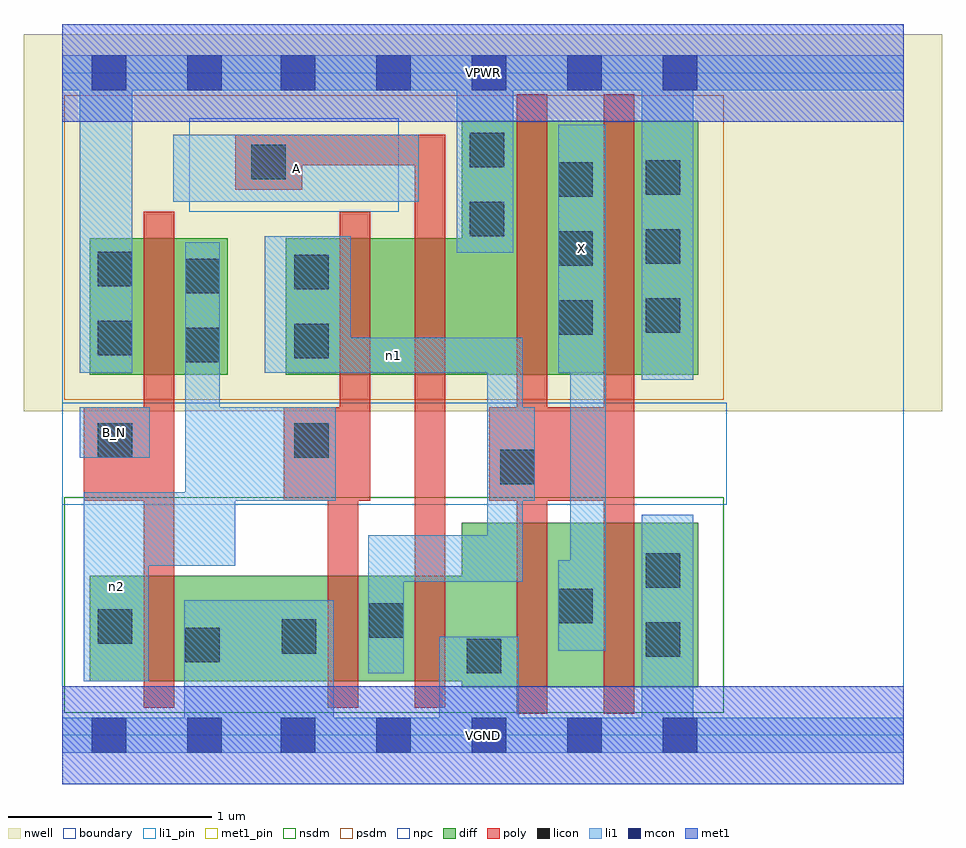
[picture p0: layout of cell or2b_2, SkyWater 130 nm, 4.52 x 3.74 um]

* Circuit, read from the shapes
.subckt or2b_2 A B_N VGND VPWR X n1 n2
XM1 VGND B_N n2 VSUBS sky130_fd_pr__nfet_01v8 w=0.52 l=0.15
XM2 n1 n2 VGND VSUBS sky130_fd_pr__nfet_01v8 w=0.52 l=0.15
XM3 VGND A n1 VSUBS sky130_fd_pr__nfet_01v8 w=0.52 l=0.15
XM4 X n1 VGND VSUBS sky130_fd_pr__nfet_01v8 w=0.81 l=0.15 m=2
XM5 n2 B_N VPWR n3 sky130_fd_pr__pfet_01v8 w=0.67 l=0.15
XM6 n4 n2 n1 n3 sky130_fd_pr__pfet_01v8 w=0.67 l=0.15
XM7 VPWR A n4 n3 sky130_fd_pr__pfet_01v8 w=0.67 l=0.15
XM8 X n1 VPWR n3 sky130_fd_pr__pfet_01v8 w=1.25 l=0.15 m=2
.ends

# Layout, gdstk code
import gdstk
lib = gdstk.Library(unit=1e-6, precision=1e-09)
def R(c, l, rs):  # rectangles x0, y0, x1, y1
    for r in rs: c.add(gdstk.rectangle(r[:2], r[2:], *l))
def A(c, l, x, y, w, h, nx, ny, dx, dy):  # array of equal rectangles
    R(c, l, [(x+i*dx, y+j*dy, x+i*dx+w, y+j*dy+h) for i in range(nx) for j in range(ny)])
nwell = (64, 20)
diff = (65, 20)
poly = (66, 20)
licon = (66, 44)
li1_pin = (67, 16)
li1 = (67, 20)
mcon = (67, 44)
met1_pin = (68, 16)
met1 = (68, 20)
nsdm = (93, 44)
psdm = (94, 20)
npc = (95, 20)
boundary = (235, 4)

or2b_2 = lib.new_cell('or2b_2')
R(or2b_2, nwell, [(-0.19,1.595,4.33,3.45), (0,1.595,4.14,3.45)])
R(or2b_2, diff, [(1.965,0.235,3.13,1.045), (0.135,0.265,3.13,0.785), (0.135,1.775,0.815,2.445), (1.1,1.775,3.13,2.445), (1.965,1.775,3.13,3.025)])
R(or2b_2, poly, [(2.235,0.105,2.385,3.155), (2.665,0.105,2.815,3.155), (0.4,0.135,0.55,2.575), (1.305,0.135,1.455,1.615), (1.735,0.135,1.885,2.955), (0.105,1.155,0.55,1.615), (1.09,1.155,1.515,1.615), (1.365,1.155,1.515,2.575), (2.1,1.155,2.815,1.615), (0.85,2.685,1.18,2.955), (0.85,2.805,1.885,2.955)])
A(or2b_2, licon, 2.44, 1.97, 0.17, 0.17, 1, 3, 0, 0.34)
A(or2b_2, licon, 2.87, 1.98, 0.17, 0.17, 1, 3, 0, 0.34)
R(or2b_2, licon, [(1.99,0.305,2.16,0.475), (0.605,0.36,0.775,0.53), (2.87,0.385,3.04,0.555), (1.08,0.4,1.25,0.57), (0.175,0.45,0.345,0.62), (1.51,0.48,1.68,0.65), (2.44,0.55,2.61,0.72), (2.87,0.725,3.04,0.895), (2.155,1.235,2.325,1.405), (0.175,1.365,0.345,1.535), (1.14,1.365,1.31,1.535), (0.605,1.835,0.775,2.005), (1.14,1.855,1.31,2.025), (0.175,1.87,0.345,2.04), (0.605,2.175,0.775,2.345), (1.14,2.195,1.31,2.365), (0.175,2.21,0.345,2.38), (2.005,2.455,2.175,2.625), (0.93,2.735,1.1,2.905), (2.005,2.795,2.175,2.965)])
R(or2b_2, li1_pin, [(0.085,1.365,0.43,1.615), (2.44,1.785,2.675,3.005), (0.545,2.625,1.755,2.955)])
R(or2b_2, li1, [(0,-0.085,4.14,0.085), (0.6,-0.085,1.335,0.665), (1.855,-0.085,2.245,0.485), (2.85,-0.085,3.105,1.085), (0.105,0.265,0.425,1.195), (1.505,0.305,1.68,0.985), (2.44,0.415,2.675,0.86), (2.5,0.415,2.675,3.005), (1.505,0.755,2.265,0.985), (2.09,0.755,2.265,1.955), (0.105,0.835,0.85,1.195), (0.605,0.835,0.775,2.425), (0.605,0.835,0.85,1.615), (0.605,1.155,1.345,1.615), (2.09,1.155,2.325,1.615), (0.085,1.365,0.43,1.615), (2.85,1.75,3.105,3.345), (0.085,1.785,0.345,3.345), (0.995,1.785,2.265,1.955), (0.995,1.785,1.42,2.455), (2.44,1.785,2.675,3.005), (1.94,2.375,2.22,3.345), (0.545,2.625,1.755,2.955), (0,3.175,4.14,3.345)])
A(or2b_2, mcon, 1.075, -0.085, 0.17, 0.17, 5, 2, 0.47, 3.26)
R(or2b_2, mcon, [(0.145,-0.085,0.315,0.085), (0.615,-0.085,0.785,0.085), (0.145,3.175,0.315,3.345), (0.615,3.175,0.785,3.345)])
R(or2b_2, met1_pin, [(0,-0.24,4.14,0.24), (0,3.02,4.14,3.5)])
R(or2b_2, met1, [(0,-0.24,4.14,0.24), (0,3.02,4.14,3.5)])
R(or2b_2, nsdm, [(0.01,0.11,3.255,1.17)])
R(or2b_2, psdm, [(0.01,1.65,3.255,3.15)])
R(or2b_2, npc, [(0,1.135,3.27,1.635), (0.625,2.575,1.655,3.035)])
R(or2b_2, boundary, [(0,0,4.14,3.26)])
or2b_2.add(gdstk.Label('A', (1.15,2.79), layer=67, texttype=5))
or2b_2.add(gdstk.Label('B_N', (0.257,1.49), layer=67, texttype=5))
or2b_2.add(gdstk.Label('X', (2.557,2.395), layer=67, texttype=5))
or2b_2.add(gdstk.Label('n2', (0.265,0.73), layer=67, texttype=5))
or2b_2.add(gdstk.Label('n1', (1.63,1.87), layer=67, texttype=5))
or2b_2.add(gdstk.Label('VPWR', (2.07,3.26), layer=68, texttype=5))
or2b_2.add(gdstk.Label('VGND', (2.07,0), layer=68, texttype=5))
or2b_2.add(gdstk.Label('A', (1.15,2.79), layer=67, texttype=16))
or2b_2.add(gdstk.Label('B_N', (0.257,1.49), layer=67, texttype=16))
or2b_2.add(gdstk.Label('X', (2.557,2.395), layer=67, texttype=16))
or2b_2.add(gdstk.Label('VPWR', (2.07,3.26), layer=68, texttype=16))
or2b_2.add(gdstk.Label('VGND', (2.07,0), layer=68, texttype=16))

lib.write_gds('or2b_2.gds')
